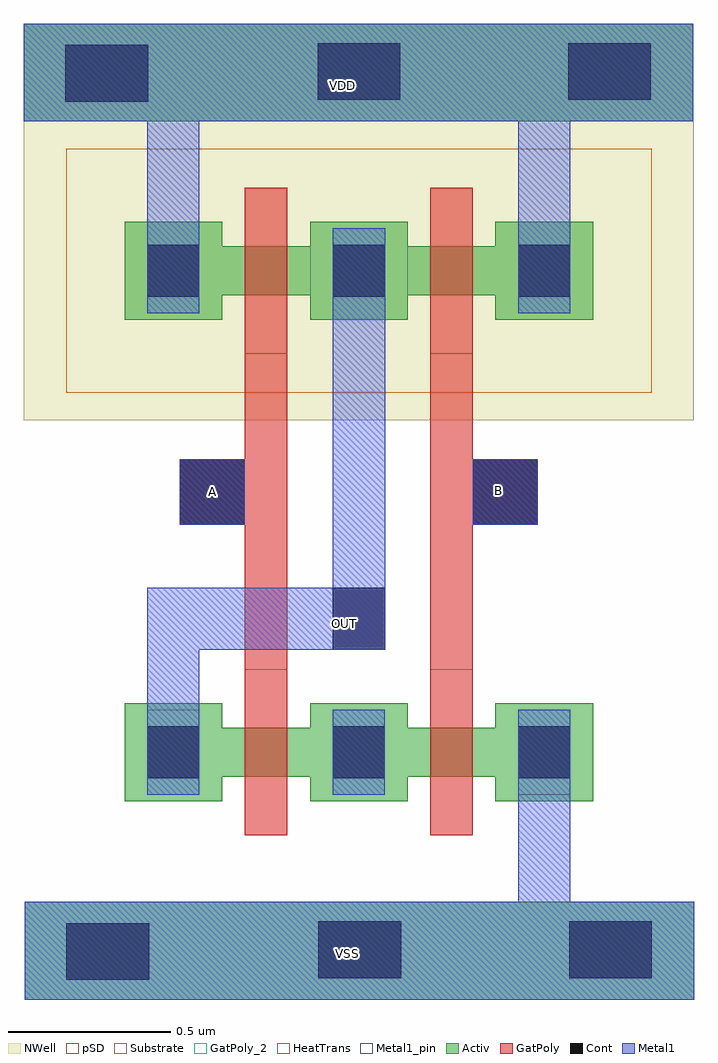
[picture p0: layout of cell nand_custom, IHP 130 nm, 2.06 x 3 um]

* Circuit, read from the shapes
.subckt nand_custom A B OUT VDD VSS
XM1 n1 A OUT VSS sg13_lv_nmos w=0.15u l=0.13u
XM2 VSS B n1 VSS sg13_lv_nmos w=0.15u l=0.13u
XM3 OUT A VDD VDD sg13_lv_pmos w=0.15u l=0.13u
XM4 VDD B OUT VDD sg13_lv_pmos w=0.15u l=0.13u
.ends

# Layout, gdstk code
from math import pi, radians
import gdstk
lib = gdstk.Library(unit=1e-6, precision=1e-09)
def R(c, l, rs):  # rectangles x0, y0, x1, y1
    for r in rs: c.add(gdstk.rectangle(r[:2], r[2:], *l))
Activ = (1, 0)
GatPoly = (5, 0)
GatPoly_2 = (5, 2)
Cont = (6, 0)
Metal1 = (8, 0)
Metal1_pin = (8, 2)
pSD = (14, 0)
NWell = (31, 0)
Substrate = (40, 0)
HeatTrans = (51, 0)

nmos__nand_custom = lib.new_cell('nmos__nand_custom')
R(nmos__nand_custom, Activ, [(0,0,0.3,0.3), (0.57,0,0.87,0.3), (0,0.075,0.87,0.225)])
R(nmos__nand_custom, GatPoly, [(0.37,-0.105,0.5,0.405)])
R(nmos__nand_custom, GatPoly_2, [(0.37,-0.105,0.5,0.405)])
R(nmos__nand_custom, Cont, [(0.07,0.07,0.23,0.23), (0.64,0.07,0.8,0.23)])
R(nmos__nand_custom, Metal1, [(0.07,0.02,0.23,0.28), (0.64,0.02,0.8,0.28)])
R(nmos__nand_custom, Metal1_pin, [(0.07,0.02,0.23,0.28), (0.64,0.02,0.8,0.28)])
R(nmos__nand_custom, HeatTrans, [(0.37,-0.105,0.5,0.405)])
nmos__nand_custom.add(gdstk.Label('nmos', (0.435,0.15), layer=63, texttype=0))
nmos__nand_custom.add(gdstk.Label('nmos', (0.435,0.15), layer=51, texttype=0))

pmos__nand_custom = lib.new_cell('pmos__nand_custom')
R(pmos__nand_custom, Activ, [(0,0,0.3,0.3), (0.57,0,0.87,0.3), (0,0.075,0.87,0.225)])
R(pmos__nand_custom, GatPoly, [(0.37,-0.105,0.5,0.405), (0.37,-0.105,0.5,0.405)])
R(pmos__nand_custom, Cont, [(0.07,0.07,0.23,0.23), (0.64,0.07,0.8,0.23)])
R(pmos__nand_custom, Metal1, [(0.07,0.02,0.23,0.28), (0.07,0.02,0.23,0.28), (0.64,0.02,0.8,0.28), (0.64,0.02,0.8,0.28)])
R(pmos__nand_custom, pSD, [(-0.18,-0.225,1.05,0.525)])
R(pmos__nand_custom, NWell, [(-0.31,-0.31,1.18,0.61)])
R(pmos__nand_custom, Substrate, [(0.57,0,0.87,0.3)])
R(pmos__nand_custom, HeatTrans, [(0.37,-0.105,0.5,0.405)])
pmos__nand_custom.add(gdstk.Label('pmos', (0.435,0.15), layer=63, texttype=0))
pmos__nand_custom.add(gdstk.Label('pmos', (0.435,0.15), layer=51, texttype=0))

nand_custom = lib.new_cell('nand_custom')
R(nand_custom, Activ, [(0.953,1.4,3.011,1.7), (0.95,4.1,3.008,4.4)])
R(nand_custom, GatPoly, [(1.63,1.905,1.76,3.895), (2.2,1.905,2.33,3.895), (1.43,2.86,1.63,3.06), (2.33,2.86,2.53,3.06)])
R(nand_custom, Cont, [(1.081,1.46,1.336,1.635), (1.856,1.465,2.111,1.64), (2.626,1.465,2.881,1.64), (1.9,2.475,2.061,2.665), (1.43,2.86,1.63,3.06), (2.33,2.86,2.53,3.06), (1.078,4.16,1.333,4.335), (1.853,4.165,2.108,4.34), (2.623,4.165,2.878,4.34)])
R(nand_custom, Metal1, [(0.953,1.4,3.011,1.7), (2.47,1.4,2.63,2.29), (1.33,2.03,1.49,2.665), (1.33,2.475,2.061,2.665), (1.9,2.475,2.061,3.77), (1.43,2.86,1.63,3.06), (2.33,2.86,2.53,3.06), (1.33,3.51,1.49,4.4), (2.47,3.51,2.63,4.4), (0.95,4.1,3.008,4.4)])
R(nand_custom, Metal1_pin, [(0.953,1.4,3.011,1.7), (1.9,2.475,2.061,3.77), (1.43,2.86,1.63,3.06), (2.33,2.86,2.53,3.06), (0.95,4.1,3.008,4.4)])
R(nand_custom, pSD, [(0.953,1.4,3.011,1.7)])
R(nand_custom, NWell, [(0.95,4.1,3.008,4.4)])
nand_custom.add(gdstk.Reference(nmos__nand_custom, (1.26,2.01)))
nand_custom.add(gdstk.Reference(nmos__nand_custom, (1.83,2.01)))
nand_custom.add(gdstk.Reference(pmos__nand_custom, (2.7,3.79), rotation=pi))
nand_custom.add(gdstk.Reference(pmos__nand_custom, (1.26,3.49)))
nand_custom.add(gdstk.Label('VDD', (1.93,4.21), layer=8, texttype=25))
nand_custom.add(gdstk.Label('A', (1.53,2.96), layer=8, texttype=25))
nand_custom.add(gdstk.Label('B', (2.41,2.965), layer=8, texttype=25))
nand_custom.add(gdstk.Label('OUT', (1.935,2.555), layer=8, texttype=25))
nand_custom.add(gdstk.Label('VSS', (1.946,1.54), layer=8, texttype=25))

lib.write_gds('nand_custom.gds')
